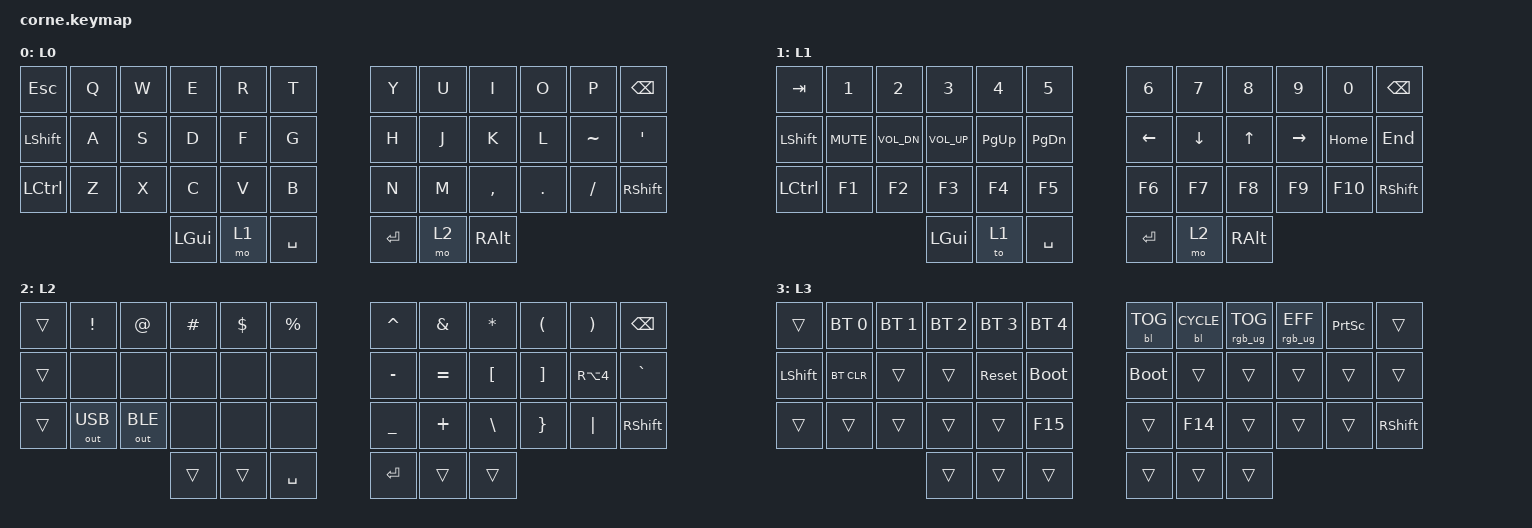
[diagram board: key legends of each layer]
/*
 * Copyright (c) 2020 The ZMK Contributors
 *
 * SPDX-License-Identifier: MIT
 */

#include <behaviors.dtsi>
#include <dt-bindings/zmk/backlight.h>
#include <dt-bindings/zmk/bt.h>
#include <dt-bindings/zmk/keys.h>
#include <dt-bindings/zmk/outputs.h>
#include <dt-bindings/zmk/rgb.h>

/ {
    chosen {
        zmk,matrix_transform = &default_transform;

        // zmk,matrix_transform = &five_column_transform;
    };
};

/ {
    keymap {
        compatible = "zmk,keymap";

        default_layer {
            display-name = "L0";

            // --------------------------------------------------------------------------------
            // |  TAB |  Q  |  W  |  E  |  R  |  T  |   |  Y  |  U   |  I  |  O  |  P  | BKSP |
            // | CTRL |  A  |  S  |  D  |  F  |  G  |   |  H  |  J   |  K  |  L  |  ;  |  '   | 
            // | SHFT |  Z  |  X  |  C  |  V  |  B  |   |  N  |  M   |  ,  |  .  |  /  | ESC  |
            //                    | GUI | LWR | SPC |   | ENT | RSE  | ALT |

            bindings = <
&kp ESCAPE        &kp Q  &kp W  &kp E     &kp R  &kp T        &kp Y      &kp U  &kp I      &kp O    &kp P      &kp BSPC
&kp LEFT_SHIFT    &kp A  &kp S  &kp D     &kp F  &kp G        &kp H      &kp J  &kp K      &kp L    &kp TILDE  &kp SQT
&kp LEFT_CONTROL  &kp Z  &kp X  &kp C     &kp V  &kp B        &kp N      &kp M  &kp COMMA  &kp DOT  &kp FSLH   &kp RSHFT
                                &kp LGUI  &mo 1  &kp SPACE    &kp ENTER  &mo 2  &kp RALT
            >;
        };

        lower_layer {
            display-name = "L1";

            // -----------------------------------------------------------------------------------------
            // |  TAB |  1  |  2  |  3  |  4  |  5  |   |  6  |  7  |  8  |  9  |  0  | BKSP |
            // | BTCLR| BT1 | BT2 | BT3 | BT4 | BT5 |   | LFT | DWN |  UP | RGT |     |      |
            // | SHFT |     |     |     |     |     |   |     |     |     |     |     |      |
            //                    | GUI |     | SPC |   | ENT |     | ALT |

            bindings = <
&kp TAB    &kp N1      &kp N2        &kp N3        &kp N4       &kp N5           &kp N6     &kp N7    &kp N8         &kp N9     &kp N0    &kp BSPC
&kp LSHFT  &kp C_MUTE  &kp C_VOL_DN  &kp C_VOL_UP  &kp PAGE_UP  &kp PAGE_DOWN    &kp LEFT   &kp DOWN  &kp UP         &kp RIGHT  &kp HOME  &kp END
&kp LCTRL  &kp F1      &kp F2        &kp F3        &kp F4       &kp F5           &kp F6     &kp F7    &kp F8         &kp F9     &kp F10   &kp RSHFT
                                     &kp LGUI      &to 1        &kp SPACE        &kp ENTER  &mo 2     &kp RIGHT_ALT
            >;
        };

        raise_layer {
            display-name = "L2";

            // -----------------------------------------------------------------------------------------
            // |  TAB |  !  |  @  |  #  |  $  |  %  |   |  ^  |  &  |  *  |  (  |  )  | BKSP |
            // | CTRL |     |     |     |     |     |   |  -  |  =  |  [  |  ]  |  \  |  `   |
            // | SHFT |     |     |     |     |     |   |  _  |  +  |  {  |  }  | "|" |  ~   |
            //                    | GUI |     | SPC |   | ENT |     | ALT |

            bindings = <
&trans  &kp EXCL      &kp AT        &kp HASH  &kp DLLR  &kp PRCNT    &kp CARET  &kp AMPS   &kp ASTRK      &kp LPAR  &kp RPAR          &kp BSPC
&trans  &none         &none         &none     &none     &none        &kp MINUS  &kp EQUAL  &kp LBKT       &kp RBKT  &kp RA(NUMBER_4)  &kp GRAVE
&trans  &out OUT_USB  &out OUT_BLE  &none     &none     &none        &kp UNDER  &kp PLUS   &kp BACKSLASH  &kp RBRC  &kp PIPE          &kp RIGHT_SHIFT
                                    &trans    &trans    &kp SPACE    &kp RET    &trans     &trans
            >;
        };

        layer_3 {
            display-name = "L3";
            bindings = <
&trans          &bt BT_SEL 0  &bt BT_SEL 1  &bt BT_SEL 2  &bt BT_SEL 3  &bt BT_SEL 4    &bl BL_TOG   &bl BL_CYCLE  &rgb_ug RGB_TOG  &rgb_ug RGB_EFF  &kp PRINTSCREEN  &trans
&kp LEFT_SHIFT  &bt BT_CLR    &trans        &trans        &sys_reset    &bootloader     &bootloader  &trans        &trans           &trans           &trans           &trans
&trans          &trans        &trans        &trans        &trans        &kp F15         &trans       &kp F14       &trans           &trans           &trans           &kp RIGHT_SHIFT
                                            &trans        &trans        &trans          &trans       &trans        &trans
            >;
        };
    };

    conditional_layers {
        compatible = "zmk,conditional-layers";

        L3 {
            if-layers = <1 2>;
            then-layer = <3>;
        };
    };
};
